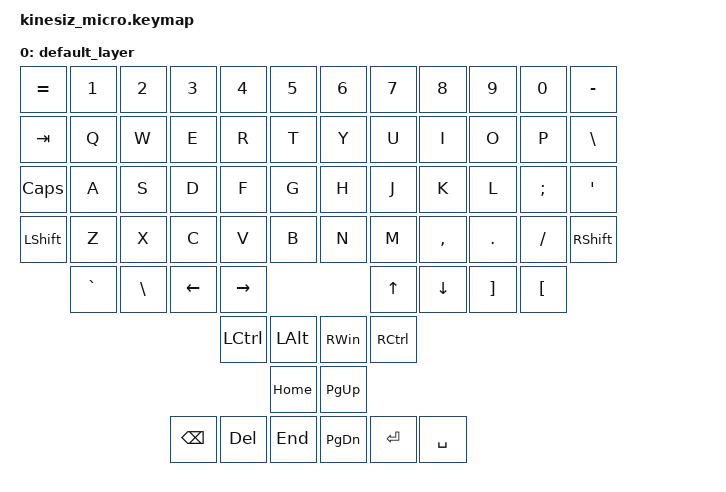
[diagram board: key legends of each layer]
/*
 * Copyright (c) 2020 The ZMK Contributors
 *
 * SPDX-License-Identifier: MIT
 */

#include <behaviors.dtsi>
#include <dt-bindings/zmk/keys.h>
#include <dt-bindings/zmk/bt.h>

/ {
        keymap {
                compatible = "zmk,keymap";

                default_layer {
// -----------------------------------------------------------------------------------------
// --------------------------------------------------------------------------------------------------------------------------------------------
// |  ESC |  1  |  2  |  3  |  4  |  5  |   |  6  |  7   |  8  |  9  |  0  | -    |
// |  TAB |  Q  |  W  |  E  |  R  |  T  |   |  Y  |  U   |  I  |  O  |  P  | \    |
// | CTRL |  A  |  S  |  D  |  F  |  G  |   |  H  |  J   |  K  |  L  |  ;  | '    |
// | SHFT |  Z  |  X  |  C  |  V  |  B  |   |  N  |  M   |  ,  |  .  |  /  | RHFT |
//        |  Z  |  X  |  C  |  V  |               |  M   |  ,  |  .  |  /  |
//                    | GUI | LWR | SPC |   | ENT | RSE  | ALT |
                        bindings = <
   &kp EQUAL  &kp N1     &kp N2     &kp N3     &kp N4     &kp N5            &kp N6     &kp N7     &kp N8     &kp N9     &kp N0     &kp MINUS
   &kp TAB    &kp Q      &kp W      &kp E      &kp R      &kp T             &kp Y      &kp U      &kp I      &kp O      &kp P      &kp BSLH
   &kp CAPS   &kp A      &kp S      &kp D      &kp F      &kp G             &kp H      &kp J      &kp K      &kp L      &kp SEMI   &kp SQT
   &kp LSHFT  &kp Z      &kp X      &kp C      &kp V      &kp B             &kp N      &kp M      &kp COMMA  &kp DOT    &kp FSLH   &kp RSHFT
              &kp GRAVE  &kp BSLH   &kp LEFT   &kp RIGHT                               &kp UP     &kp DOWN   &kp RBKT   &kp LBKT
                                               &kp LCTRL  &kp LALT          &kp RWIN   &kp RCTRL
                                                          &kp HOME          &kp PG_UP
                                    &kp BSPC   &kp DEL    &kp END           &kp PG_DN  &kp ENTER  &kp SPACE
                        >;
                };
        };
};

